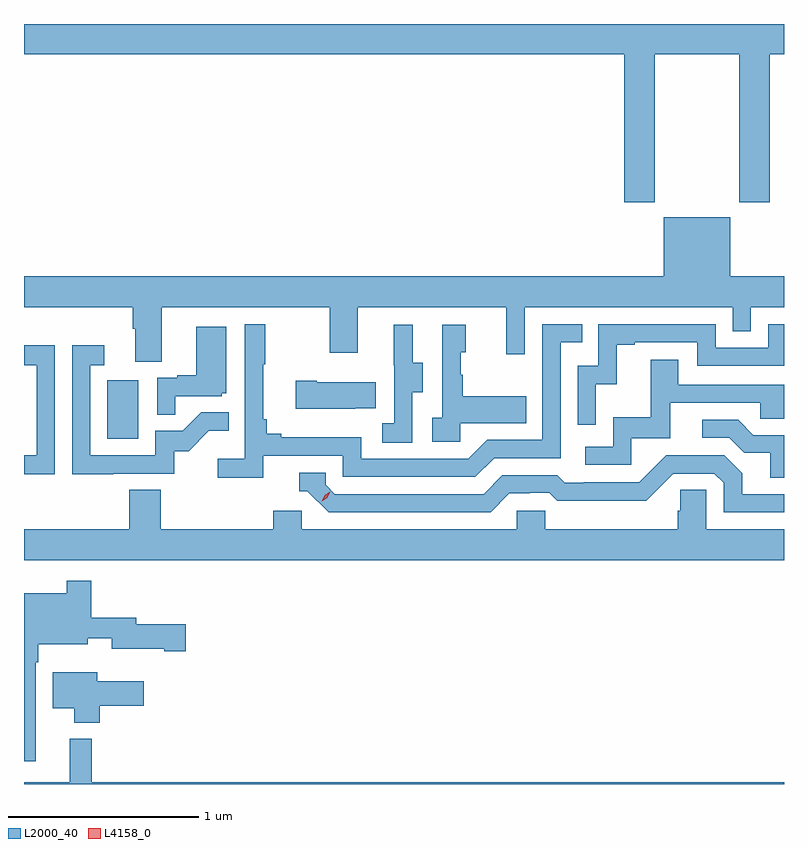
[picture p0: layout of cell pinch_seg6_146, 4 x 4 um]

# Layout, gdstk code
import gdstk
lib = gdstk.Library(unit=1e-6, precision=1e-09)
def R(c, l, rs):  # rectangles x0, y0, x1, y1
    for r in rs: c.add(gdstk.rectangle(r[:2], r[2:], *l))
def P(c, l, *ps):  # polygons
    for p in ps: c.add(gdstk.Polygon(p, *l))
L2000_40 = (2000, 40)
L4158_0 = (4158, 0)

pinch_seg6_146 = lib.new_cell('pinch_seg6_146')
R(pinch_seg6_146, L2000_40, [(969.848,917.34,970.012,917.647)])
P(pinch_seg6_146, L2000_40, [(972.729,919.364),(973.174,919.364),(973.174,918.585),(973.334,918.585),(973.334,919.364),(973.41,919.364),(973.41,919.523),(969.41,919.523),(969.41,919.364),(972.569,919.364),(972.569,918.585),(972.729,918.585)],
  [(970.135,918.032),(971.02,918.032),(971.02,917.793),(971.167,917.793),(971.167,918.032),(971.948,918.032),(971.948,917.784),(972.045,917.784),(972.045,918.032),(973.14,918.032),(973.14,917.905),(973.236,917.905),(973.236,918.032),(973.41,918.032),(973.41,918.196),(973.126,918.196),(973.126,918.505),(972.776,918.505),(972.776,918.196),(969.41,918.196),(969.41,918.032),(969.983,918.032),(969.983,917.92),(969.995,917.92),(969.995,917.746),(970.135,917.746)],
  [(970.67,917.25),(971.088,917.25),(971.088,917.139),(971.785,917.139),(971.884,917.238),(972.234,917.238),(972.234,917.847),(972.347,917.847),(972.347,917.943),(972.138,917.943),(972.138,917.334),(971.847,917.334),(971.748,917.235),(971.184,917.235),(971.184,917.347),(970.765,917.347),(970.765,917.366),(970.688,917.366),(970.688,917.443),(970.669,917.443),(970.669,917.731),(970.681,917.731),(970.681,917.944),(970.572,917.944),(970.572,917.236),(970.431,917.236),(970.431,917.134),(970.67,917.134)],
  [(972.42,917.627),(972.53,917.627),(972.53,917.835),(972.625,917.835),(972.625,917.847),(972.954,917.847),(972.954,917.724),(973.41,917.724),(973.41,917.943),(973.326,917.943),(973.326,917.82),(973.05,917.82),(973.05,917.943),(972.432,917.943),(972.432,917.724),(972.324,917.724),(972.324,917.415),(972.42,917.415)],
  [(971.706,917.423),(972.053,917.423),(972.053,917.563),(971.719,917.563),(971.719,917.678),(971.709,917.678),(971.709,917.796),(971.734,917.796),(971.734,917.941),(971.61,917.941),(971.61,917.45),(971.559,917.45),(971.559,917.325),(971.706,917.325)],
  [(971.454,917.584),(971.509,917.584),(971.509,917.739),(971.455,917.739),(971.455,917.941),(971.357,917.941),(971.357,917.727),(971.358,917.727),(971.358,917.423),(971.295,917.423),(971.295,917.32),(971.454,917.32)],
  [(970.205,917.565),(970.452,917.565),(970.452,917.58),(970.474,917.58),(970.474,917.929),(970.316,917.929),(970.316,917.674),(970.217,917.674),(970.217,917.661),(970.11,917.661),(970.11,917.467),(970.205,917.467)],
  [(969.573,917.833),(969.41,917.833),(969.41,917.727),(969.477,917.727),(969.477,917.253),(969.41,917.253),(969.41,917.152),(969.573,917.152)],
  [(969.881,917.157),(970.2,917.157),(970.2,917.274),(970.276,917.274),(970.383,917.381),(970.487,917.381),(970.487,917.48),(970.343,917.48),(970.245,917.382),(970.101,917.382),(970.101,917.253),(969.759,917.253),(969.759,917.727),(969.832,917.727),(969.832,917.833),(969.663,917.833),(969.663,917.152),(969.881,917.152)],
  [(972.606,917.343),(972.811,917.343),(972.811,917.529),(973.285,917.529),(973.285,917.445),(973.41,917.445),(973.41,917.625),(972.853,917.625),(972.853,917.755),(972.709,917.755),(972.709,917.452),(972.51,917.452),(972.51,917.298),(972.363,917.298),(972.363,917.202),(972.606,917.202)],
  [(971.153,917.501),(971.261,917.501),(971.261,917.638),(970.951,917.638),(970.951,917.646),(970.839,917.646),(970.839,917.498),(971.153,917.498)],
  [(973.41,917.358),(973.249,917.358),(973.168,917.439),(972.981,917.439),(972.981,917.346),(973.122,917.346),(973.202,917.266),(973.337,917.266),(973.337,917.134),(973.41,917.134)],
  [(971.965,917.052),(972.072,917.052),(972.072,917.055),(972.175,917.055),(972.217,917.013),(972.45,917.013),(972.45,917.015),(972.686,917.015),(972.828,917.157),(973.044,917.157),(973.092,917.109),(973.092,916.953),(973.41,916.953),(973.41,917.049),(973.189,917.049),(973.189,917.159),(973.095,917.253),(972.789,917.253),(972.648,917.112),(972.355,917.112),(972.355,917.109),(972.256,917.109),(972.217,917.148),(971.928,917.148),(971.829,917.049),(971.046,917.049),(970.998,917.097),(970.998,917.16),(970.859,917.16),(970.859,917.064),(970.902,917.064),(971.013,916.953),(971.866,916.953)],
  [(973.41,916.864),(973.002,916.864),(973.002,917.072),(972.865,917.072),(972.865,916.962),(972.851,916.962),(972.851,916.864),(972.153,916.864),(972.153,916.962),(972.003,916.962),(972.003,916.864),(970.872,916.864),(970.872,916.962),(970.721,916.962),(970.721,916.864),(970.13,916.864),(970.13,917.072),(969.965,917.072),(969.965,916.864),(969.41,916.864),(969.41,916.7),(973.41,916.7)],
  [(969.471,916.163),(969.484,916.163),(969.484,916.259),(969.745,916.259),(969.745,916.289),(969.872,916.289),(969.872,916.235),(970.148,916.235),(970.148,916.223),(970.261,916.223),(970.261,916.365),(970,916.365),(970,916.399),(969.764,916.399),(969.764,916.594),(969.636,916.594),(969.636,916.528),(969.41,916.528),(969.41,915.642),(969.471,915.642)],
  [(969.809,915.934),(970.039,915.934),(970.039,916.063),(969.796,916.063),(969.796,916.111),(969.56,916.111),(969.56,915.923),(969.674,915.923),(969.674,915.845),(969.809,915.845)],
  [(973.41,915.532),(969.767,915.532),(969.767,915.76),(969.65,915.76),(969.65,915.532),(969.41,915.532),(969.41,915.523),(973.41,915.523)])
P(pinch_seg6_146, L4158_0, [(970.976,917.01),(970.976,917.01),(970.992,917.043),(971.023,917.062),(971.023,917.062),(971.023,917.062),(971.007,917.029),(970.976,917.01)])

lib.write_gds('pinch_seg6_146.gds')
